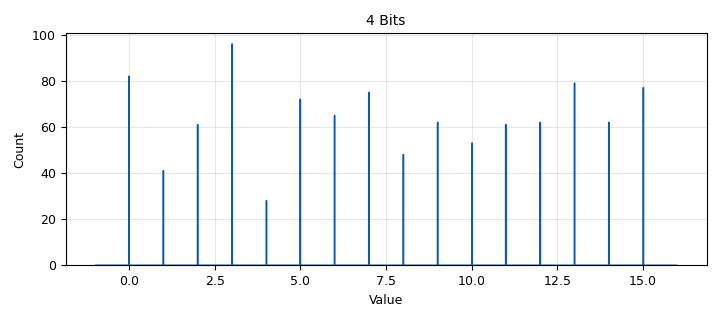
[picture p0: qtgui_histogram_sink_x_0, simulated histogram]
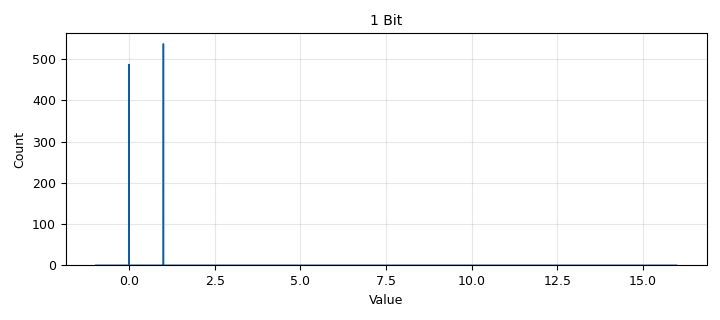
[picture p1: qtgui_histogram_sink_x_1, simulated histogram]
options:
  parameters:
    author: alexistesis
    generate_options: qt_gui
    id: UnpackingBits
    output_language: python
    title: Not titled yet
  states: {}

blocks:
- name: samp_rate
  id: variable
  parameters:
    value: '32000'
  states: {}
- name: analog_random_source_x_0
  id: analog_random_source_x
  parameters:
    max: '2'
    min: '0'
    num_samps: '1000'
    repeat: 'True'
    type: byte
  states: {}
- name: blocks_char_to_float_0
  id: blocks_char_to_float
  parameters:
    scale: '1'
  states: {}
- name: blocks_char_to_float_1
  id: blocks_char_to_float
  parameters:
    scale: '1'
  states: {}
- name: blocks_pack_k_bits_bb_0
  id: blocks_pack_k_bits_bb
  parameters:
    k: '4'
  states: {}
- name: blocks_throttle2_0
  id: blocks_throttle2
  parameters:
    samples_per_second: samp_rate
    type: byte
  states: {}
- name: blocks_unpack_k_bits_bb_0
  id: blocks_unpack_k_bits_bb
  parameters:
    k: '4'
  states: {}
- name: qtgui_histogram_sink_x_0
  id: qtgui_histogram_sink_x
  parameters:
    bins: '1024'
    name: '"4 Bits"'
    size: '1024'
    type: float
    xmax: '16'
    xmin: '-1'
  states: {}
- name: qtgui_histogram_sink_x_1
  id: qtgui_histogram_sink_x
  parameters:
    bins: '1024'
    name: '"1 Bit"'
    size: '1024'
    type: float
    xmax: '16'
    xmin: '-1'
  states: {}

connections:
- [analog_random_source_x_0, '0', blocks_throttle2_0, '0']
- [blocks_char_to_float_0, '0', qtgui_histogram_sink_x_0, '0']
- [blocks_char_to_float_1, '0', qtgui_histogram_sink_x_1, '0']
- [blocks_pack_k_bits_bb_0, '0', blocks_char_to_float_0, '0']
- [blocks_pack_k_bits_bb_0, '0', blocks_unpack_k_bits_bb_0, '0']
- [blocks_throttle2_0, '0', blocks_pack_k_bits_bb_0, '0']
- [blocks_unpack_k_bits_bb_0, '0', blocks_char_to_float_1, '0']

metadata:
  file_format: 1
  grc_version: 3.10.9.2
